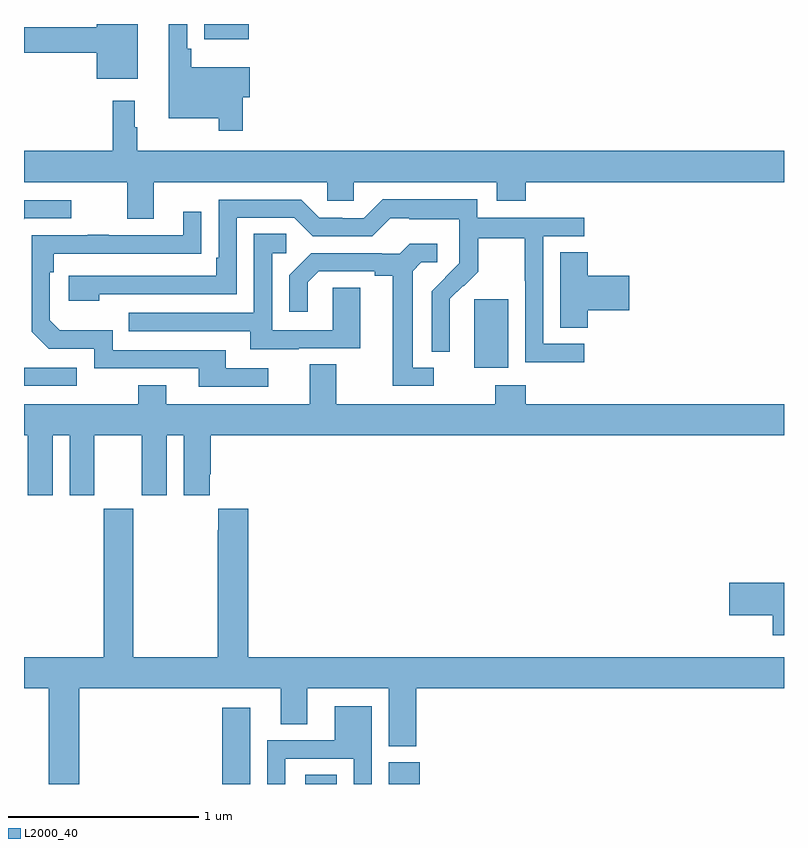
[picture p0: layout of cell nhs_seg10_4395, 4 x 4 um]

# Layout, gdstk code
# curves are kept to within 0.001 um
import gdstk
lib = gdstk.Library(unit=1e-6, precision=1e-09)
def R(c, l, rs):  # rectangles x0, y0, x1, y1
    for r in rs: c.add(gdstk.rectangle(r[:2], r[2:], *l))
def P(c, l, *ps):  # polygons
    for p in ps: c.add(gdstk.Polygon(p, *l))
L2000_40 = (2000, 40)

nhs_seg10_4395 = lib.new_cell('nhs_seg10_4395')
R(nhs_seg10_4395, L2000_40, [(360.044,1278.5,360.19,1278.901), (360.479,1278.5,360.646,1278.548), (360.92,1278.5,361.082,1278.615), (361.37,1280.69,361.549,1281.051), (359.948,1282.421,360.184,1282.5)])
P(nhs_seg10_4395, L2000_40, [(359.599,1282.5),(359.384,1282.5),(359.384,1282.484),(359,1282.484),(359,1282.348),(359.384,1282.348),(359.384,1282.211),(359.599,1282.211)],
  [(360.152,1282.115),(360.187,1282.115),(360.187,1282.273),(359.879,1282.273),(359.879,1282.369),(359.859,1282.369),(359.859,1282.5),(359.762,1282.5),(359.762,1282.004),(360.024,1282.004),(360.024,1281.939),(360.152,1281.939)],
  [(359.683,1281.668),(360.597,1281.668),(360.597,1281.57),(360.735,1281.57),(360.735,1281.668),(361.487,1281.668),(361.487,1281.569),(361.64,1281.569),(361.64,1281.668),(363,1281.668),(363,1281.832),(359.596,1281.832),(359.596,1281.956),(359.584,1281.956),(359.584,1282.096),(359.467,1282.096),(359.467,1281.832),(359,1281.832),(359,1281.668),(359.543,1281.668),(359.543,1281.474),(359.683,1281.474)],
  [(361.948,1280.817),(361.734,1280.817),(361.734,1281.384),(361.948,1281.384),(361.948,1281.48),(361.386,1281.48),(361.386,1281.577),(360.889,1281.577),(360.789,1281.477),(360.674,1281.477),(360.674,1281.48),(360.555,1281.48),(360.459,1281.576),(360.024,1281.576),(360.024,1281.271),(360.011,1281.271),(360.011,1281.174),(359.235,1281.174),(359.235,1281.044),(359.396,1281.044),(359.396,1281.078),(360.12,1281.078),(360.12,1281.48),(360.423,1281.48),(360.519,1281.384),(360.834,1281.384),(360.927,1281.477),(361.027,1281.477),(361.027,1281.473),(361.29,1281.473),(361.29,1281.339),(361.292,1281.339),(361.292,1281.242),(361.146,1281.094),(361.146,1280.776),(361.242,1280.776),(361.241,1281.053),(361.311,1281.123),(361.314,1281.12),(361.391,1281.197),(361.391,1281.372),(361.636,1281.372),(361.636,1281.148),(361.638,1281.148),(361.638,1280.719),(361.948,1280.719)],
  [(359.004,1281.477),(359.248,1281.477),(359.248,1281.573),(359,1281.573),(359,1281.473)],
  [(360.286,1280.688),(360.061,1280.688),(360.061,1280.784),(359.466,1280.784),(359.466,1280.887),(359.189,1280.887),(359.136,1280.94),(359.136,1281.194),(359.156,1281.194),(359.156,1281.291),(359.933,1281.292),(359.933,1281.511),(359.837,1281.511),(359.837,1281.387),(359.447,1281.387),(359.447,1281.392),(359.335,1281.392),(359.335,1281.387),(359.04,1281.387),(359.04,1280.88),(359.13,1280.79),(359.37,1280.79),(359.37,1280.688),(359.921,1280.688),(359.921,1280.592),(360.286,1280.592)],
  [(360.445,1280.793),(360.769,1280.793),(360.769,1281.113),(360.624,1281.113),(360.624,1280.889),(360.306,1280.889),(360.306,1281.294),(360.379,1281.294),(360.379,1281.395),(360.21,1281.395),(360.21,1280.979),(359.551,1280.979),(359.551,1280.883),(360.191,1280.883),(360.191,1280.789),(360.445,1280.789)],
  [(361.156,1280.691),(361.045,1280.691),(361.045,1281.199),(361.092,1281.246),(361.174,1281.246),(361.174,1281.343),(361.03,1281.343),(360.978,1281.291),(360.884,1281.291),(360.884,1281.294),(360.512,1281.294),(360.396,1281.178),(360.396,1280.985),(360.493,1280.985),(360.493,1281.141),(360.55,1281.198),(360.845,1281.198),(360.845,1281.176),(360.941,1281.176),(360.941,1280.595),(361.156,1280.595)],
  [(361.967,1280.993),(362.185,1280.993),(362.185,1281.176),(361.967,1281.176),(361.967,1281.299),(361.823,1281.299),(361.823,1280.902),(361.967,1280.902)],
  [(359.152,1280.336),(359.24,1280.336),(359.24,1280.019),(359.371,1280.019),(359.371,1280.336),(359.621,1280.336),(359.621,1280.019),(359.752,1280.019),(359.752,1280.336),(359.84,1280.336),(359.84,1280.019),(359.977,1280.019),(359.977,1280.131),(359.984,1280.131),(359.984,1280.336),(363,1280.336),(363,1280.5),(361.64,1280.5),(361.64,1280.599),(361.48,1280.599),(361.48,1280.5),(360.643,1280.5),(360.643,1280.708),(360.503,1280.708),(360.503,1280.5),(359.749,1280.5),(359.749,1280.599),(359.602,1280.599),(359.602,1280.5),(359,1280.5),(359,1280.336),(359.021,1280.336),(359.021,1280.019),(359.152,1280.019)],
  [(359.278,1280.691),(359.001,1280.691),(359,1280.692),(359,1280.595),(359.278,1280.595)],
  [(359.291,1279.004),(360.35,1279.004),(360.35,1278.814),(360.49,1278.814),(360.49,1279.004),(360.92,1279.004),(360.92,1278.7),(361.064,1278.7),(361.064,1279.004),(363,1279.004),(363,1279.168),(360.179,1279.168),(360.179,1279.948),(360.023,1279.948),(360.023,1279.835),(360.019,1279.835),(360.019,1279.168),(359.574,1279.168),(359.574,1279.948),(359.419,1279.948),(359.419,1279.168),(359,1279.168),(359,1279.004),(359.131,1279.004),(359.131,1278.5),(359.291,1278.5)],
  [(363,1279.559),(362.712,1279.559),(362.712,1279.388),(362.942,1279.388),(362.942,1279.283),(363,1279.283)],
  [(360.375,1278.633),(360.735,1278.633),(360.735,1278.5),(360.831,1278.5),(360.831,1278.91),(360.635,1278.91),(360.635,1278.729),(360.279,1278.729),(360.279,1278.5),(360.375,1278.5)])

lib.write_gds('nhs_seg10_4395.gds')
